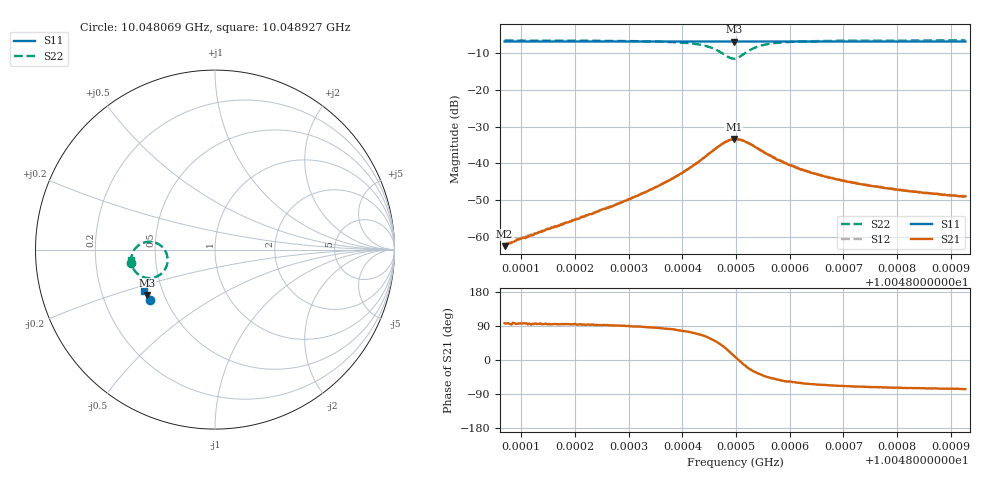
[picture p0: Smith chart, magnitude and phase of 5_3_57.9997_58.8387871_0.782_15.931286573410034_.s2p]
#  HZ  S  RI  R  50.00
! Rohde & Schwarz Vector Network Analyzer
! Rohde-Schwarz,ZNB20-2Port,1311601062101988,3.16
! Created: UTC 3/21/2024, 12:50:27 AM
! freq[Hz]  re:S11  im:S11  re:S21  im:S21  re:S12  im:S12  re:S22  im:S22
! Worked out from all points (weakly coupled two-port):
!   401 points, 10.048069 GHz to 10.048927 GHz, reference 50 ohm
!   highest |S21| = -33.32 dB at 10.048496 GHz (marker M1); lowest = -62.6 dB at 10.048069 GHz (marker M2)
!   lowest |S11| = -6.8 dB at 10.048496 GHz (marker M3), VSWR 2.68, Z = 20.1 - j13 ohm
!   |S11| at or under -10 dB: nowhere
!   |S22| runs from -11.4 to -6.5 dB; largest |S21 - S12| = 0.0019
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1.00480689e10  -0.3647 -0.2797  -9.23e-05 0.000739  -0.000116 0.000772  -0.4674 -0.0737
1.00480861e10  -0.3652 -0.2788  -0.000114 0.000863  -0.000156 0.000848  -0.4676 -0.0718
1.00480968e10  -0.3657 -0.2782  -0.000108 0.000924  -0.000183 0.00092  -0.4676 -0.0704
1.00482127e10  -0.3703 -0.2717  -9.31e-05 0.00186  -0.000206 0.00183  -0.4674 -0.0541
1.00482985e10  -0.3734 -0.2669  -1.78e-05 0.00319  -0.000164 0.00324  -0.4646 -0.0355
1.00483564e10  -0.3756 -0.2635  0.000483 0.00496  0.000203 0.00502  -0.458 -0.0157
1.00484014e10  -0.3772 -0.2606  0.00176 0.0074  0.00128 0.0075  -0.4425 0.00863
1.00484379e10  -0.3782 -0.2584  0.00493 0.0106  0.00436 0.0107  -0.4072 0.0352
1.00484551e10  -0.3785 -0.2573  0.00849 0.0119  0.00766 0.0123  -0.373 0.0439
1.00484701e10  -0.3786 -0.2561  0.013 0.0117  0.0122 0.0126  -0.3294 0.0377
1.00484829e10  -0.3785 -0.2555  0.0178 0.00943  0.0168 0.0106  -0.289 0.0097
1.00484958e10  -0.3785 -0.2553  0.0212 0.00402  0.0205 0.00574  -0.2649 -0.0425
1.0048498e10  -0.3784 -0.2554  0.0212 0.00296  0.0209 0.00478  -0.2638 -0.0525
1.00485108e10  -0.3789 -0.2553  0.0205 -0.00285  0.0208 -0.0015  -0.2776 -0.1084
1.00485237e10  -0.3795 -0.255  0.0174 -0.0071  0.0181 -0.00582  -0.3123 -0.1439
1.00485387e10  -0.3804 -0.2546  0.0134 -0.00912  0.0142 -0.00817  -0.3537 -0.1581
1.00485537e10  -0.3814 -0.2538  0.0101 -0.00943  0.0111 -0.00885  -0.3854 -0.1569
1.00485945e10  -0.3834 -0.2515  0.0054 -0.00827  0.00613 -0.008  -0.4306 -0.1353
1.00486417e10  -0.3852 -0.2486  0.00328 -0.00664  0.00373 -0.00651  -0.4503 -0.1141
1.00487082e10  -0.3875 -0.2447  0.00201 -0.00525  0.00238 -0.0052  -0.4611 -0.0942
1.00487854e10  -0.3904 -0.2404  0.00134 -0.00433  0.00163 -0.00428  -0.4664 -0.0791
1.0048927e10  -0.3949 -0.2321  0.000818 -0.00346  0.00104 -0.00342  -0.4706 -0.0603
